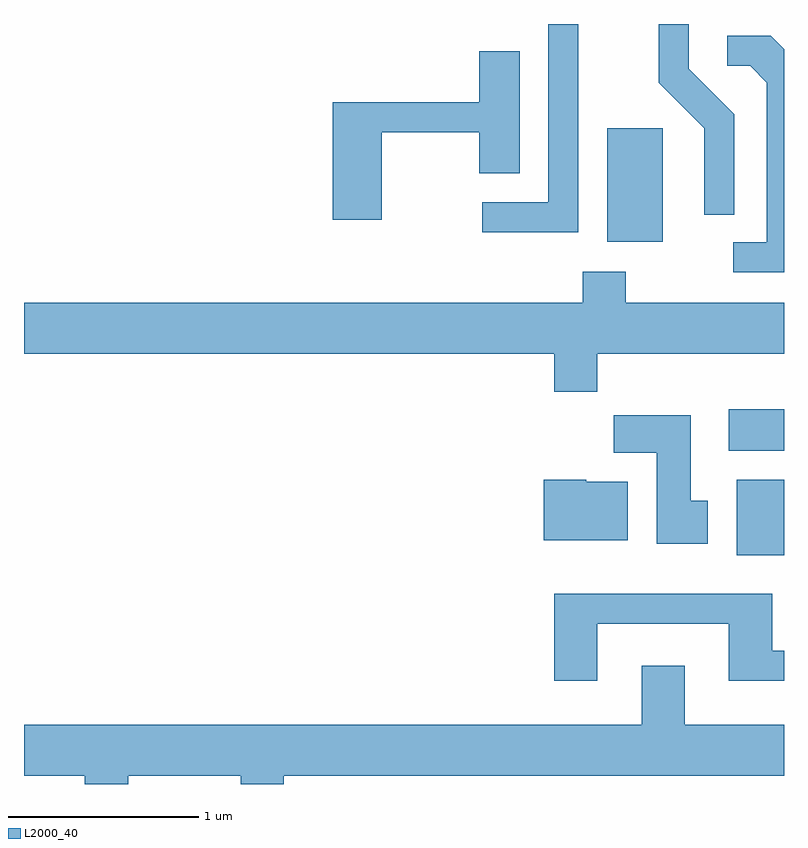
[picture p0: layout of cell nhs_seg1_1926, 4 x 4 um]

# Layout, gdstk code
import gdstk
lib = gdstk.Library(unit=1e-6, precision=1e-09)
def R(c, l, rs):  # rectangles x0, y0, x1, y1
    for r in rs: c.add(gdstk.rectangle(r[:2], r[2:], *l))
def P(c, l, *ps):  # polygons
    for p in ps: c.add(gdstk.Polygon(p, *l))
L2000_40 = (2000, 40)

nhs_seg1_1926 = lib.new_cell('nhs_seg1_1926')
R(nhs_seg1_1926, L2000_40, [(247.361,942.916,247.611,943.314), (247.321,943.466,247.611,943.684), (246.681,944.566,246.974,945.164)])
P(nhs_seg1_1926, L2000_40, [(246.529,945.712),(246.371,945.712),(246.371,944.774),(246.023,944.774),(246.023,944.616),(246.529,944.616)],
  [(247.349,945.237),(247.109,945.477),(247.109,945.712),(246.951,945.712),(246.951,945.404),(247.191,945.164),(247.191,944.708),(247.349,944.708)],
  [(247.611,945.58),(247.542,945.649),(247.313,945.649),(247.313,945.491),(247.434,945.491),(247.521,945.404),(247.521,944.564),(247.343,944.564),(247.343,944.406),(247.611,944.406)],
  [(245.494,945.141),(246.006,945.141),(246.006,944.926),(246.219,944.926),(246.219,945.569),(246.006,945.569),(246.006,945.299),(245.236,945.299),(245.236,944.681),(245.494,944.681)],
  [(246.629,943.976),(247.611,943.976),(247.611,944.244),(246.779,944.244),(246.779,944.409),(246.551,944.409),(246.551,944.244),(243.611,944.244),(243.611,943.976),(246.401,943.976),(246.401,943.776),(246.629,943.776)],
  [(247.209,943.204),(247.119,943.204),(247.119,943.654),(246.716,943.654),(246.716,943.456),(246.941,943.456),(246.941,942.976),(247.209,942.976)],
  [(246.789,943.304),(246.57,943.304),(246.57,943.314),(246.346,943.314),(246.346,942.996),(246.789,942.996)],
  [(246.629,942.556),(247.321,942.556),(247.321,942.256),(247.611,942.256),(247.611,942.414),(247.549,942.414),(247.549,942.714),(246.401,942.714),(246.401,942.256),(246.629,942.256)],
  [(244.159,941.756),(244.751,941.756),(244.751,941.712),(244.979,941.712),(244.979,941.756),(247.611,941.756),(247.611,942.024),(247.089,942.024),(247.089,942.334),(246.861,942.334),(246.861,942.024),(243.611,942.024),(243.611,941.756),(243.931,941.756),(243.931,941.712),(244.159,941.712)])

lib.write_gds('nhs_seg1_1926.gds')
